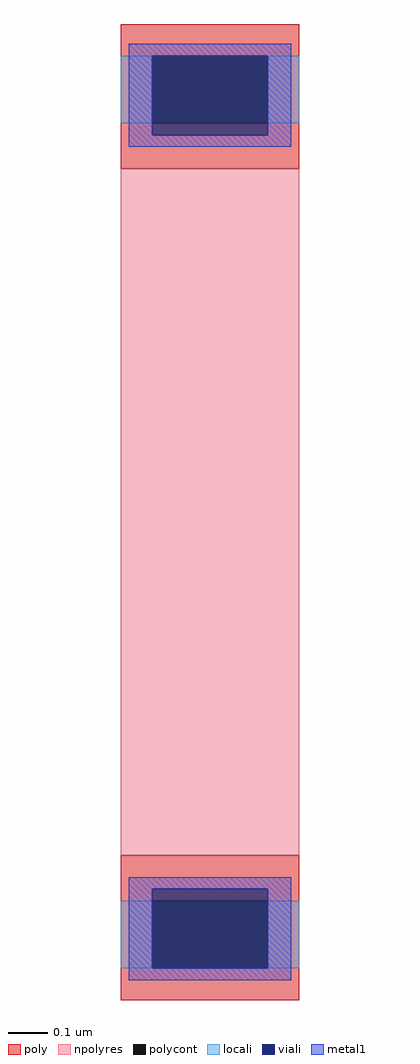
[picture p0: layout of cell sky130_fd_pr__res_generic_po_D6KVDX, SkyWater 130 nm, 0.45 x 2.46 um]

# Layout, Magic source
magic
tech sky130A
magscale 1 2
<< poly >>
rect -45 230 45 246
rect -45 196 -29 230
rect 29 196 45 230
rect -45 173 45 196
rect -45 -196 45 -173
rect -45 -230 -29 -196
rect 29 -230 45 -196
rect -45 -246 45 -230
<< polycont >>
rect -29 196 29 230
rect -29 -230 29 -196
<< npolyres >>
rect -45 -173 45 173
<< locali >>
rect -45 196 -29 230
rect 29 196 45 230
rect -45 -230 -29 -196
rect 29 -230 45 -196
<< viali >>
rect -29 196 29 230
rect -29 190 29 196
rect -29 -196 29 -190
rect -29 -230 29 -196
<< metal1 >>
rect -41 230 41 236
rect -41 190 -29 230
rect 29 190 41 230
rect -41 184 41 190
rect -41 -190 41 -184
rect -41 -230 -29 -190
rect 29 -230 41 -190
rect -41 -236 41 -230
<< properties >>
string gencell sky130_fd_pr__res_generic_po
string library sky130
string parameters w 0.45 l 1.73 m 1 nx 1 wmin 0.330 lmin 1.650 rho 48.2 val 185.302 dummy 0 dw 0.0 term 0.0 sterm 0.0 caplen 0.4 snake 0 guard 0 glc 1 grc 1 gtc 1 gbc 1 roverlap 0 endcov 100 full_metal 1 hv_guard 0 n_guard 0 vias 1 viagb 0 viagt 0 viagl 0 viagr 0
<< end >>
